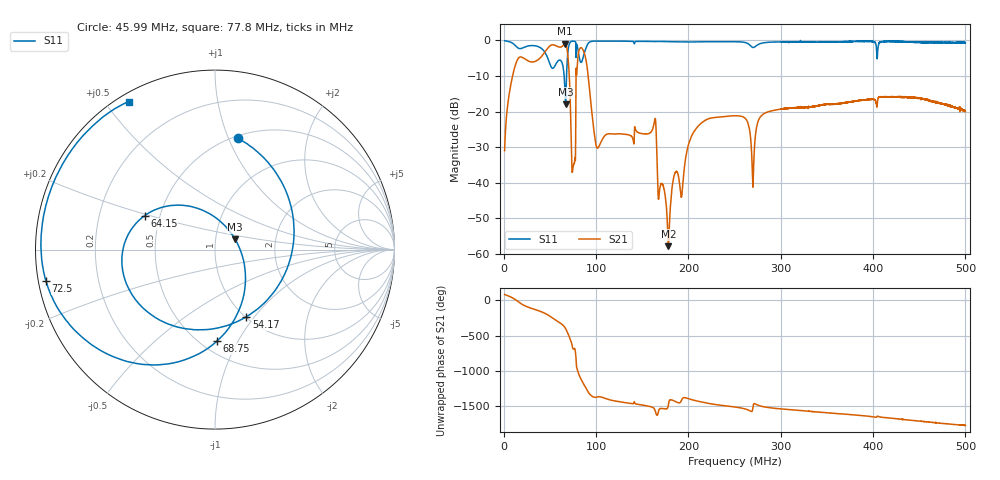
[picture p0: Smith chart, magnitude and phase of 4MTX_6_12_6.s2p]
! NanoVNA-App
! Date: 2026-08-18 21:56:34
! Start: 1MHz Stop: 500MHz Points: 6401
! S-Parameter data: F S11 S21 S12 S22
# Hz S RI R 50
!  Frequency  S11_Real  S11_Imag  S21_Real  S21_Imag  S12_Real  S12_Imag  S22_Real  S22_Imag
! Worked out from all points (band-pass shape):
!   6401 points, 1 MHz to 500 MHz, reference 50 ohm
!   highest |S21| = -0.90 dB at 66.65 MHz (marker M1); lowest = -57.8 dB at 178.5 MHz (marker M2)
!   |S21| within 3 dB of the highest: 42.83 MHz to 69.32 MHz (26.49 MHz wide, 47.2 % of centre); 80.76 MHz to 87.67 MHz (6.911 MHz wide, 8.21 % of centre)
!   lowest |S11| = -18.0 dB at 67.04 MHz (marker M3), VSWR 1.29, Z = 62.2 + j7.29 ohm
!   |S11| at or under -10 dB: 65.46 MHz to 68.05 MHz (2.589 MHz wide, 3.88 % of centre)
!   S12 and S22 are empty: the file has one direction only
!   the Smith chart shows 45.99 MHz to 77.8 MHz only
!   S11 on the Smith chart (normalised r, x): 45.99 MHz: 0.52, +1.08; 54.17 MHz: 1.01, -0.91; 64.15 MHz: 0.41, +0.19; 68.75 MHz: 0.60, -0.82; 72.5 MHz: 0.02, -0.09; 77.8 MHz: 0.03, +0.57
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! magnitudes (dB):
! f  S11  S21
! 1 MHz  -0.1  -31.0
! 14.49 MHz  -1.9  -5.6
! 45.99 MHz  -4.0  -2.8
! 54.17 MHz  -7.7  -1.3
! 64.15 MHz  -7.2  -1.5
! 66.65 MHz  -16.4  -0.9
! 67.04 MHz  -18.0  -0.9
! 68.75 MHz  -5.9  -2.6
! 72.5 MHz  -0.4  -21.2
! 75.46 MHz  -0.2  -35.2
! 77.8 MHz  -0.4  -31.5
! 84.19 MHz  -6.1  -2.1
! 101.2 MHz  -0.2  -30.2
! 162.7 MHz  -0.3  -23.6
! 167.4 MHz  -0.3  -44.0
! 178.5 MHz  -0.3  -57.8
! 206.3 MHz  -0.4  -25.5
! 250.5 MHz  -0.4  -21.2
! 269.9 MHz  -2.0  -41.3
! 333.7 MHz  -0.5  -18.6
! 416.9 MHz  -0.3  -15.8
! 500 MHz  -0.6  -20.0
